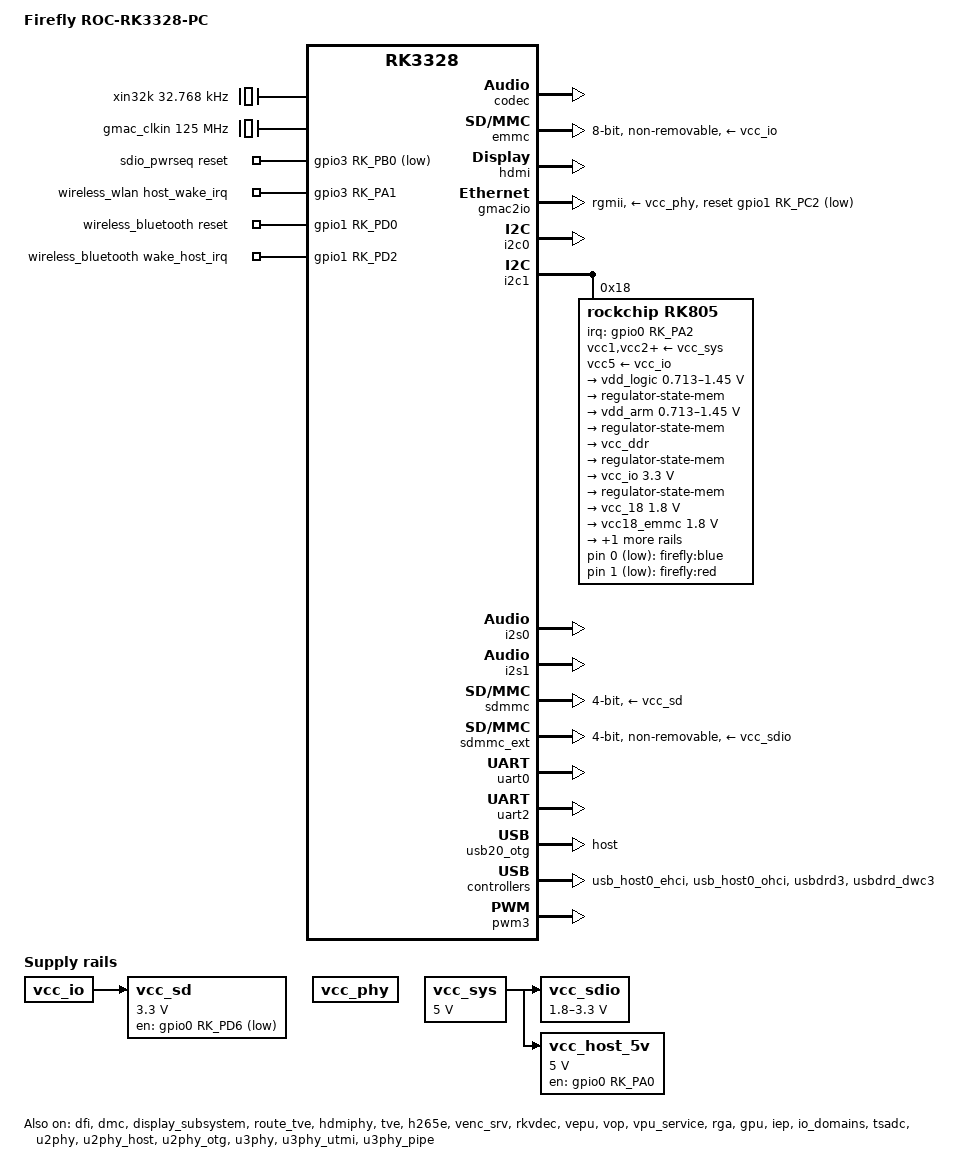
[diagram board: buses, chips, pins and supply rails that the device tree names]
/*
 * Copyright (c) 2016 Fuzhou Rockchip Electronics Co., Ltd
 *
 * This file is dual-licensed: you can use it either under the terms
 * of the GPL or the X11 license, at your option. Note that this dual
 * licensing only applies to this file, and not this project as a
 * whole.
 *
 *  a) This library is free software; you can redistribute it and/or
 *     modify it under the terms of the GNU General Public License as
 *     published by the Free Software Foundation; either version 2 of the
 *     License, or (at your option) any later version.
 *
 *     This library is distributed in the hope that it will be useful,
 *     but WITHOUT ANY WARRANTY; without even the implied warranty of
 *     MERCHANTABILITY or FITNESS FOR A PARTICULAR PURPOSE.  See the
 *     GNU General Public License for more details.
 *
 * Or, alternatively,
 *
 *  b) Permission is hereby granted, free of charge, to any person
 *     obtaining a copy of this software and associated documentation
 *     files (the "Software"), to deal in the Software without
 *     restriction, including without limitation the rights to use,
 *     copy, modify, merge, publish, distribute, sublicense, and/or
 *     sell copies of the Software, and to permit persons to whom the
 *     Software is furnished to do so, subject to the following
 *     conditions:
 *
 *     The above copyright notice and this permission notice shall be
 *     included in all copies or substantial portions of the Software.
 *
 *     THE SOFTWARE IS PROVIDED "AS IS", WITHOUT WARRANTY OF ANY KIND,
 *     EXPRESS OR IMPLIED, INCLUDING BUT NOT LIMITED TO THE WARRANTIES
 *     OF MERCHANTABILITY, FITNESS FOR A PARTICULAR PURPOSE AND
 *     NONINFRINGEMENT. IN NO EVENT SHALL THE AUTHORS OR COPYRIGHT
 *     HOLDERS BE LIABLE FOR ANY CLAIM, DAMAGES OR OTHER LIABILITY,
 *     WHETHER IN AN ACTION OF CONTRACT, TORT OR OTHERWISE, ARISING
 *     FROM, OUT OF OR IN CONNECTION WITH THE SOFTWARE OR THE USE OR
 *     OTHER DEALINGS IN THE SOFTWARE.
 */

/dts-v1/;
#include "rk3328.dtsi"
#include <dt-bindings/input/input.h>
#include "rk3328-dram-box-plus-timing.dtsi"

/ {
	model = "Firefly ROC-RK3328-PC";
	compatible = "firefly,roc-rk3328-pc", "rockchip,rk3328";

	chosen {
		bootargs = "earlycon=uart8250-32bit,0xff110000 swiotlb=1 kpti=0 coherent_pool=1m no_console_suspend=1 usbcore.autosuspend=-1";
		stdout-path = "serial0:1500000n8";
	};

	xin32k: xin32k {
		compatible = "fixed-clock";
		clock-frequency = <32768>;
		clock-output-names = "xin32k";
		#clock-cells = <0>;
	};

	gmac_clkin: external-gmac-clock {
		compatible = "fixed-clock";
		clock-frequency = <125000000>;
		clock-output-names = "gmac_clkin";
		#clock-cells = <0>;
	};

	vcc_phy: vcc-phy-regulator {
		compatible = "regulator-fixed";
		regulator-name = "vcc_phy";
		regulator-always-on;
		regulator-boot-on;
	};

	vcc_sys: vcc-sys {
		compatible = "regulator-fixed";
		regulator-name = "vcc_sys";
		regulator-always-on;
		regulator-boot-on;
		regulator-min-microvolt = <5000000>;
		regulator-max-microvolt = <5000000>;
	};

	vcc_sd: sdmmc-regulator {
		compatible = "regulator-fixed";
		gpio = <&gpio0 RK_PD6 GPIO_ACTIVE_LOW>;
		pinctrl-names = "default";
		pinctrl-0 = <&sdmmc0m1_gpio>;
		regulator-name = "vcc_sd";
		regulator-always-on;
		regulator-boot-on;
		regulator-min-microvolt = <3300000>;
		regulator-max-microvolt = <3300000>;
		vin-supply = <&vcc_io>;
	};

	vcc_sdio: sdmmcio-regulator {
		compatible = "regulator-gpio";
		gpios = <&gpio0 RK_PD3 GPIO_ACTIVE_HIGH>;
		pinctrl-names = "default";
		pinctrl-0 = <&sdio_per_pin>;
		states = <1800000 0x1>,
			 <3300000 0x0>;
		regulator-name = "vcc_sdio";
		regulator-type = "voltage";
		regulator-min-microvolt = <1800000>;
		regulator-max-microvolt = <3300000>;
		regulator-always-on;
		vin-supply = <&vcc_sys>;
		status="okay";
	};

	vcc_host_5v: vcc-host-5v-regulator {
		compatible = "regulator-fixed";
		enable-active-high;
		gpio = <&gpio0 RK_PA0 GPIO_ACTIVE_HIGH>;
		pinctrl-names = "default";
		pinctrl-0 = <&usb_host_drv>;
		regulator-name = "vcc_host_5v";
		regulator-always-on;
		regulator-min-microvolt = <5000000>;
		regulator-max-microvolt = <5000000>;
		vin-supply = <&vcc_sys>;
	};

	leds {
		compatible = "gpio-leds";

		power {
			label = "firefly:blue";
			gpios = <&rk805 0 GPIO_ACTIVE_LOW>;
			default-state = "on";
			mode = <0x05>;
		};

		disk {
			label = "firefly:red";
			linux,default-trigger = "disk-activity";
			gpios = <&rk805 1 GPIO_ACTIVE_LOW>;
			default-state = "on";
			mode = <0x23>;
		};
	};

	hdmi-sound {
		compatible = "simple-audio-card";
		simple-audio-card,format = "i2s";
		simple-audio-card,mclk-fs = <128>;
		simple-audio-card,name = "HDMI";
		simple-audio-card,cpu {
			sound-dai = <&i2s0>;
		};
		simple-audio-card,codec {
			sound-dai = <&hdmi>;
		};
	};

	headphone-sound {
		compatible = "simple-audio-card";
		simple-audio-card,format = "i2s";
		simple-audio-card,mclk-fs = <256>;
		simple-audio-card,name = "ANALOG";
		simple-audio-card,cpu {
			sound-dai = <&i2s1>;
		};
		simple-audio-card,codec {
			sound-dai = <&codec>;
		};
	};

	sdio_pwrseq: sdio-pwrseq {
		compatible = "mmc-pwrseq-simple";
		pinctrl-names = "default";
		pinctrl-0 = <&wifi_enable_h>;
		reset-gpios = <&gpio3 RK_PB0 GPIO_ACTIVE_LOW>;
	};

	wireless_wlan: wireless-wlan {
		compatible = "wlan-platdata";
		rockchip,grf = <&grf>;
		wifi_chip_type = "rtl8723ds";
		WIFI,host_wake_irq = <&gpio3 RK_PA1 GPIO_ACTIVE_HIGH>;
		status = "okay";
	};

	// MRFIXIT: This can be removed when the uart2 serdev is working right
	wireless_bluetooth: wireless-bluetooth {
		compatible = "bluetooth-platdata";
		BT,reset_gpio = <&gpio1 RK_PD0 GPIO_ACTIVE_HIGH>;
		BT,wake_host_irq  = <&gpio1 RK_PD2 GPIO_ACTIVE_HIGH>;
		status = "okay";
	};
};

&codec {
	#sound-dai-cells = <0>;
	status = "okay";
};

&cpu0 {
	cpu-supply = <&vdd_arm>;
};

&cpu1 {
	cpu-supply = <&vdd_arm>;
};

&cpu2 {
	cpu-supply = <&vdd_arm>;
};

&cpu3 {
	cpu-supply = <&vdd_arm>;
};

&dfi {
	status = "okay";
};

&dmc {
	status = "okay";
	center-supply = <&vdd_logic>;
   	system-status-freq = <
		/*system status         freq(KHz)*/
		SYS_STATUS_NORMAL       786000
		SYS_STATUS_REBOOT       786000
		SYS_STATUS_SUSPEND      786000
		SYS_STATUS_VIDEO_1080P  786000
		SYS_STATUS_VIDEO_4K     786000
		SYS_STATUS_VIDEO_4K_10B 786000
		SYS_STATUS_PERFORMANCE  786000
		SYS_STATUS_BOOST        786000
	>;
};

&dmc_opp_table {
	opp-800000000 {
		status = "disabled";
	};
	opp-850000000 {
		status = "disabled";
	};
	opp-933000000 {
		status = "disabled";
	};
};

&emmc {
	bus-width = <8>;
	cap-mmc-highspeed;
	mmc-hs200-1_8v;
	mmc-ddr-1_8v;
	non-removable;
	pinctrl-names = "default";
	pinctrl-0 = <&emmc_clk &emmc_cmd &emmc_bus8>;
	supports-emmc;
	disable-wp;
	max-frequency = <150000000>;
	num-slots = <1>;
	vmmc-supply = <&vcc_io>;
	vqmmc-supply = <&vcc18_emmc>;
	status = "okay";
};

&display_subsystem {
	status = "okay";
};

&route_tve {
	status = "okay";
};

&hdmi {
	status = "okay";
	#sound-dai-cells = <0>;
	ddc-i2c-scl-high-time-ns = <9625>;
	ddc-i2c-scl-low-time-ns = <10000>;
};

&hdmiphy {
	status = "okay";
};

&tve {
	status = "okay";
	rockchip,tvemode = <1>;
};

&h265e {
	status = "okay";
};

&h265e_mmu {
	status = "okay";
};

&rkvdec_mmu {
	status = "okay";
};

&vpu_mmu {
	status = "okay";
};

&vepu_mmu {
	status = "okay";
};

&venc_srv {
	status = "okay";
};

&rkvdec {
	vcodec-supply = <&vdd_logic>;
	status = "okay";
};

&vepu {
	status = "okay";
};

&vop {
	status = "okay";
};

&vop_mmu {
	status = "okay";
};

&vpu_service {
	status = "okay";
};

&rga {
	status = "okay";
};

&gpu {
	status = "okay";
	mali-supply = <&vdd_logic>;
};

&gmac2io {
	phy-supply = <&vcc_phy>;
	phy-mode = "rgmii";
	clock_in_out = "input";
	snps,reset-gpio = <&gpio1 RK_PC2 GPIO_ACTIVE_LOW>;
	snps,reset-active-low;
	snps,force_thresh_dma_mode;
	snps,reset-delays-us = <0 10000 50000>;
	assigned-clocks = <&cru SCLK_MAC2IO>, <&cru SCLK_MAC2IO_EXT>;
	assigned-clock-parents = <&gmac_clkin>, <&gmac_clkin>;
	pinctrl-names = "default";
	pinctrl-0 = <&rgmiim1_pins>;
	tx_delay = <0x28>;
	rx_delay = <0x16>;
	status = "okay";
};

&i2c0 {
	status = "okay";
};

&i2c1 {
	status = "okay";

	rk805: rk805@18 {
		compatible = "rockchip,rk805";
		interrupt-parent = <&gpio0>;
		interrupts = <RK_PA2 IRQ_TYPE_LEVEL_LOW>;
		status = "okay";
		reg = <0x18>;
		pinctrl-names = "default";
		pinctrl-0 = <&pmic_int_l>;
		rockchip,system-power-controller;
		wakeup-source;
		gpio-controller;
		#gpio-cells = <2>;
		#clock-cells = <1>;
		clock-output-names = "rk805-clkout1", "rk805-clkout2";

		vcc1-supply = <&vcc_sys>;
		vcc2-supply = <&vcc_sys>;
		vcc3-supply = <&vcc_sys>;
		vcc4-supply = <&vcc_sys>;
		vcc5-supply = <&vcc_io>;
		vcc6-supply = <&vcc_sys>;

		rtc {
			status = "okay";
		};

		pwrkey {
			status = "okay";
		};

		gpio {
			status = "okay";
		};

		regulators {
			compatible = "rk805-regulator";
			status = "okay";
			#address-cells = <1>;
			#size-cells = <0>;

			vdd_logic: RK805_DCDC1@0 {
				regulator-compatible = "RK805_DCDC1";
				regulator-name = "vdd_logic";
				regulator-min-microvolt = <712500>;
				regulator-max-microvolt = <1450000>;
				regulator-initial-mode = <0x1>;
				regulator-ramp-delay = <12500>;
				regulator-boot-on;
				regulator-always-on;
				regulator-state-mem {
					regulator-mode = <0x2>;
					regulator-on-in-suspend;
					regulator-suspend-microvolt = <1000000>;
				};
			};

			vdd_arm: RK805_DCDC2@1 {
				regulator-compatible = "RK805_DCDC2";
				regulator-name = "vdd_arm";
				regulator-init-microvolt = <1225000>;
				regulator-min-microvolt = <712500>;
				regulator-max-microvolt = <1450000>;
				regulator-initial-mode = <0x1>;
				regulator-ramp-delay = <12500>;
				regulator-boot-on;
				regulator-always-on;
				regulator-state-mem {
					regulator-mode = <0x2>;
					regulator-on-in-suspend;
					regulator-suspend-microvolt = <950000>;
				};
			};

			vcc_ddr: RK805_DCDC3@2 {
				regulator-compatible = "RK805_DCDC3";
				regulator-name = "vcc_ddr";
				regulator-initial-mode = <0x1>;
				regulator-boot-on;
				regulator-always-on;
				regulator-state-mem {
					regulator-mode = <0x2>;
					regulator-on-in-suspend;
				};
			};

			vcc_io: RK805_DCDC4@3 {
				regulator-compatible = "RK805_DCDC4";
				regulator-name = "vcc_io";
				regulator-min-microvolt = <3300000>;
				regulator-max-microvolt = <3300000>;
				regulator-initial-mode = <0x1>;
				regulator-boot-on;
				regulator-always-on;
				regulator-state-mem {
					regulator-mode = <0x2>;
					regulator-on-in-suspend;
					regulator-suspend-microvolt = <3300000>;
				};
			};

			vcc_18: RK805_LDO1@4 {
				regulator-compatible = "RK805_LDO1";
				regulator-name = "vcc_18";
				regulator-min-microvolt = <1800000>;
				regulator-max-microvolt = <1800000>;
				regulator-boot-on;
				regulator-always-on;
				regulator-state-mem {
					regulator-on-in-suspend;
					regulator-suspend-microvolt = <1800000>;
				};
			};

			vcc18_emmc: RK805_LDO2@5 {
				regulator-compatible = "RK805_LDO2";
				regulator-name = "vcc18_emmc";
				regulator-min-microvolt = <1800000>;
				regulator-max-microvolt = <1800000>;
				regulator-boot-on;
				regulator-always-on;
				regulator-state-mem {
					regulator-on-in-suspend;
					regulator-suspend-microvolt = <1800000>;
				};
			};

			vdd_10: RK805_LDO3@6 {
				regulator-compatible = "RK805_LDO3";
				regulator-name = "vdd_10";
				regulator-min-microvolt = <1000000>;
				regulator-max-microvolt = <1000000>;
				regulator-boot-on;
				regulator-always-on;
				regulator-state-mem {
					regulator-on-in-suspend;
					regulator-suspend-microvolt = <1000000>;
				};
			};
		};
	};
};

&i2s0 {
	#sound-dai-cells = <0>;
	rockchip,bclk-fs = <128>;
	status = "okay";
};

&i2s1 {
	#sound-dai-cells = <0>;
	status = "okay";
};

&iep {
	status = "okay";
};

&iep_mmu {
	status = "okay";
};

&io_domains {
	status = "okay";

	vccio1-supply = <&vcc_io>;
	vccio2-supply = <&vcc18_emmc>;
	vccio3-supply = <&vcc_io>;
	vccio4-supply = <&vcc_18>;
	vccio5-supply = <&vcc_io>;
	vccio6-supply = <&vcc_io>;
	pmuio-supply = <&vcc_io>;
};

&rockchip_suspend {
	status = "okay";
	rockchip,virtual-poweroff = <1>;
};

&sdmmc {
	bus-width = <4>;
	cap-mmc-highspeed;
	cap-sd-highspeed;
	disable-wp;
	max-frequency = <150000000>;
	num-slots = <1>;
	pinctrl-names = "default";
	pinctrl-0 = <&sdmmc0_clk &sdmmc0_cmd &sdmmc0_dectn &sdmmc0_bus4>;
	supports-sd;
	status = "okay";
	vmmc-supply = <&vcc_sd>;
};

&sdmmc_ext {
	bus-width = <4>;
	cap-sd-highspeed;
	cap-sdio-irq;
	disable-wp;
	sd-uhs-sdr104;
	keep-power-in-suspend;
	mmc-pwrseq = <&sdio_pwrseq>;
	max-frequency = <100000000>;
	non-removable;
	num-slots = <1>;
	pinctrl-names = "default";
	pinctrl-0 = <&sdmmc0ext_bus4 &sdmmc0ext_cmd &sdmmc0ext_clk>;
	supports-sdio;
	vmmc-supply = <&vcc_sdio>;
	status = "okay";
};

&threshold {
	temperature = <80000>;
};

&target {
	temperature = <90000>;
};

&soc_crit {
	temperature = <95000>;
};

&tsadc {
	rockchip,hw-tshut-mode = <0>;
	rockchip,hw-tshut-polarity = <0>;
	rockchip,hw-tshut-temp = <110000>;
	status = "okay";
};

/*
 * NOTE: Enabling uart0 kills eth0 and enabling uart1 kills wlan0.
 *  Enabling uart2 conflicts with debug output and causes instability.
 *  Hack time: point debug output to uart0.  and use uart0 without pins so std-out isn't on the monitor
 *  This will likely mean debug output can't work. Oh well.
 */
&uart0 {
	status = "okay";
	/delete-property/ pinctrl-names;
	/delete-property/ pinctrl-0;
};

&uart2 {
	status = "okay";
/*

MRFIXIT NOTE: 
This uart bluetooth binding should work now, but there's a timeout for the kernel loading the firmware. 
Will revisit later.

	/delete-property/ dmas;
	/delete-property/ dma-names;

	wireless_bluetooth: wireless-bluetooth {
		compatible = "realtek,rtl8723ds-bt";
		//clocks = <&cru SCLK_RTC32K>;
		//clock-names = "ext_clock";
		enable-gpios = <&gpio1 RK_PD0 GPIO_ACTIVE_HIGH>;
		device-wake-gpios = <&gpio1 RK_PD2 GPIO_ACTIVE_HIGH>;
		host-wake-gpios = <&gpio1 RK_PD2 GPIO_ACTIVE_HIGH>;
		oper-speed = <115200>;
		flow-control = <0>;
		status = "okay";
	};
*/
};

&u2phy {
	status = "okay";
};

&u2phy_host {
	phy-supply = <&vcc_host_5v>;
	status = "okay";
};

&u2phy_otg {
	phy-supply = <&vcc_host_5v>;
	status = "okay";
};

&u3phy {
	status = "okay";
};

&u3phy_utmi {
	phy-supply = <&vcc_host_5v>;
	status = "okay";
};

&u3phy_pipe {
	phy-supply = <&vcc_host_5v>;
	status = "okay";
};

&usb20_otg {
	dr_mode = "host";
	status = "okay";
};

&usb_host0_ehci {
	status = "okay";
};

&usb_host0_ohci {
	status = "okay";
};

&usbdrd3 {
	status = "okay";
};

&usbdrd_dwc3 {
	status = "okay";
};

&pwm3 {
	status = "okay";
	compatible = "rockchip,remotectl-pwm";
	pinctrl-names = "default";
	pinctrl-0 = <&pwmir_pin>;
	remote_pwm_id = <3>;
	handle_cpu_id = <1>;
	remote_support_psci = <1>;

	ir_key1 {
		rockchip,usercode = <0x4040>;
		rockchip,key_table =
                         <0xba   KEY_BACK>,
                         <0xf4   KEY_UP>,
                         <0xf1   KEY_DOWN>,
                         <0xef   KEY_LEFT>,
                         <0xee   KEY_RIGHT>,
                         <0xe5   KEY_HOME>,
                         <0xe7   KEY_VOLUMEUP>,
                         <0xe8   KEY_VOLUMEDOWN>,
                         <0xb2   KEY_POWER>,
                         <0xf5   KEY_MUTE>,
                         <0xe2   KEY_MENU>,
                         <0xf3   KEY_BACKSPACE>,
                         <0xf2   KEY_ENTER>,
                         <0xff   KEY_0>,
                         <0xfe   KEY_1>,
                         <0xfd   KEY_2>,
                         <0xfc   KEY_3>,
                         <0xfb   KEY_4>,
                         <0xfa   KEY_5>,
                         <0xf9   KEY_6>,
                         <0xf8   KEY_7>,
                         <0xf7   KEY_8>,
                         <0xf6   KEY_9>,
                         <0xb8   388>,
                         <0xe0   KEY_SEARCH>;
	};

	ir_key2 {
		rockchip,usercode = <0xff00>;
		rockchip,key_table =
			<0xf9	KEY_HOME>,
			<0xbf	KEY_BACK>,
			<0xfb	KEY_MENU>,
			<0xaa	KEY_REPLY>,
			<0xb9	KEY_UP>,
			<0xe9	KEY_DOWN>,
			<0xb8	KEY_LEFT>,
			<0xea	KEY_RIGHT>,
			<0xeb	KEY_VOLUMEDOWN>,
			<0xef	KEY_VOLUMEUP>,
			<0xf7	KEY_MUTE>,
			<0xe7	KEY_POWER>,
			<0xfc	KEY_POWER>,
			<0xa9	KEY_VOLUMEDOWN>,
			<0xa8	KEY_PLAYPAUSE>,
			<0xe0	KEY_VOLUMEDOWN>,
			<0xa5	KEY_VOLUMEDOWN>,
			<0xab	183>,
			<0xb7	388>,
			<0xe8	388>,
			<0xf8	184>,
			<0xaf	185>,
			<0xed	KEY_VOLUMEDOWN>,
			<0xee	186>,
			<0xb3	KEY_VOLUMEDOWN>,
			<0xf1	KEY_VOLUMEDOWN>,
			<0xf2	KEY_VOLUMEDOWN>,
			<0xf3	KEY_SEARCH>,
			<0xb4	KEY_VOLUMEDOWN>,
			<0xa4	KEY_SETUP>,
			<0xbe	KEY_SEARCH>;
	};

	ir_key3 {
		rockchip,usercode = <0x1dcc>;
		rockchip,key_table =
			<0xee	KEY_REPLY>,
			<0xf0	KEY_BACK>,
			<0xf8	KEY_UP>,
			<0xbb	KEY_DOWN>,
			<0xef	KEY_LEFT>,
			<0xed	KEY_RIGHT>,
			<0xfc	KEY_HOME>,
			<0xf1	KEY_VOLUMEUP>,
			<0xfd	KEY_VOLUMEDOWN>,
			<0xb7	KEY_SEARCH>,
			<0xff	KEY_POWER>,
			<0xf3	KEY_MUTE>,
			<0xbf	KEY_MENU>,
			<0xf9	0x191>,
			<0xf5	0x192>,
			<0xb3	388>,
			<0xbe	KEY_1>,
			<0xba	KEY_2>,
			<0xb2	KEY_3>,
			<0xbd	KEY_4>,
			<0xf9	KEY_5>,
			<0xb1	KEY_6>,
			<0xfc	KEY_7>,
			<0xf8	KEY_8>,
			<0xb0	KEY_9>,
			<0xb6	KEY_0>,
			<0xb5	KEY_BACKSPACE>;
	};
};

&pinctrl {
	pinctrl-names = "default";
	pinctrl-0 = <&clk_32k_out>;

	clk_32k {
		clk_32k_out: clk-32k-out {
			rockchip,pins = <1 RK_PD4 RK_FUNC_1 &pcfg_pull_none>;
		};
	};

	pmic {
		pmic_int_l: pmic-int-l {
			rockchip,pins = <0 RK_PA2 RK_FUNC_GPIO &pcfg_pull_up>;
		};
	};

	sdio {
		sdio_per_pin: sdio-per-pin {
			rockchip,pins = <0 RK_PD3 RK_FUNC_GPIO &pcfg_pull_down>;
		};

		wifi_enable_h: wifi-enable-h {
			// WIFI_REG_ON_H, WIFI_HOST_WAKE_L, BT_POWER, BT_WAKE
			rockchip,pins =	<3 RK_PB0 RK_FUNC_GPIO &pcfg_pull_none_4ma>,
				<3 RK_PA1 RK_FUNC_GPIO &pcfg_pull_none_4ma>,
				<1 RK_PD0 RK_FUNC_GPIO &pcfg_pull_none>,
				<1 RK_PD2 RK_FUNC_GPIO &pcfg_pull_none>;
		};
	};

	usb {
		usb_host_drv: usb-host-drv {
			rockchip,pins =	<0 RK_PA0 RK_FUNC_GPIO &pcfg_pull_none>;
		};
	};
};
